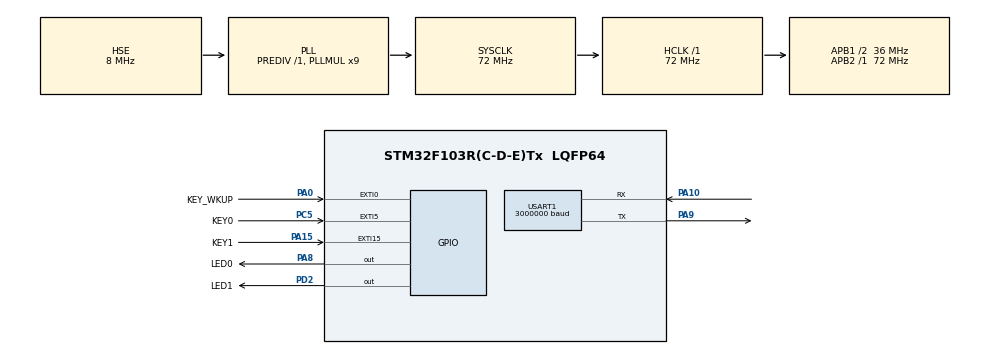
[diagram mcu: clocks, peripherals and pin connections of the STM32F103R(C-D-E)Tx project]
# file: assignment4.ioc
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Mcu.Family=STM32F1
Mcu.Name=STM32F103R(C-D-E)Tx
Mcu.Package=LQFP64
NVIC.EXTI0_IRQn=true\:2\:0\:true\:false\:true\:true\:true\:true
NVIC.EXTI15_10_IRQn=true\:2\:2\:true\:false\:true\:true\:true\:true
NVIC.EXTI9_5_IRQn=true\:2\:1\:true\:false\:true\:true\:true\:true
NVIC.PriorityGroup=NVIC_PRIORITYGROUP_2
NVIC.TIM3_IRQn=true\:2\:3\:true\:false\:true\:true\:true\:true
NVIC.USART1_IRQn=true\:1\:0\:true\:false\:true\:true\:true\:true
PA0-WKUP.GPIO_Label=KEY_WKUP
PA0-WKUP.GPIO_PuPd=GPIO_PULLDOWN
PA0-WKUP.Signal=GPXTI0
PA10.Mode=Asynchronous
PA10.Signal=USART1_RX
PA13.Mode=Serial_Wire
PA13.Signal=SYS_JTMS-SWDIO
PA14.Mode=Serial_Wire
PA14.Signal=SYS_JTCK-SWCLK
PA15.GPIO_Label=KEY1
PA15.GPIO_ModeDefaultEXTI=GPIO_MODE_IT_FALLING
PA15.GPIO_PuPd=GPIO_PULLUP
PA15.Signal=GPXTI15
PA8.GPIO_Label=LED0
PA8.Signal=GPIO_Output
PA9.Mode=Asynchronous
PA9.Signal=USART1_TX
PC5.GPIO_Label=KEY0
PC5.GPIO_ModeDefaultEXTI=GPIO_MODE_IT_FALLING
PC5.GPIO_PuPd=GPIO_PULLUP
PC5.Signal=GPXTI5
PD0-OSC_IN.Mode=HSE-External-Oscillator
PD0-OSC_IN.Signal=RCC_OSC_IN
PD1-OSC_OUT.Mode=HSE-External-Oscillator
PD1-OSC_OUT.Signal=RCC_OSC_OUT
PD2.GPIO_Label=LED1
PD2.Signal=GPIO_Output
ProjectManager.HeapSize=0x200
ProjectManager.StackSize=0x400
ProjectManager.TargetToolchain=STM32CubeIDE
RCC.AHBFreq_Value=72000000
RCC.APB1CLKDivider=RCC_HCLK_DIV2
RCC.APB1Freq_Value=36000000
RCC.APB1TimFreq_Value=72000000
RCC.APB2Freq_Value=72000000
RCC.APB2TimFreq_Value=72000000
RCC.HCLKFreq_Value=72000000
RCC.PLLMUL=RCC_PLL_MUL9
RCC.PLLSourceVirtual=RCC_PLLSOURCE_HSE
RCC.SYSCLKFreq_VALUE=72000000
RCC.SYSCLKSource=RCC_SYSCLKSOURCE_PLLCLK
RCC.USBFreq_Value=72000000
TIM3.Period=9999
TIM3.Prescaler=7199
USART1.BaudRate=3000000
USART1.VirtualMode=VM_ASYNC
VP_TIM3_VS_ClockSourceINT.Mode=Internal
board=custom

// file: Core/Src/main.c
/* USER CODE BEGIN Header */
/**
  ******************************************************************************
  * @file           : main.c
  * @brief          : Main program body
  ******************************************************************************
  * @attention
  *
  * Copyright (c) 2024 STMicroelectronics.
  * All rights reserved.
  *
  * This software is licensed under terms that can be found in the LICENSE file
  * in the root directory of this software component.
  * If no LICENSE file comes with this software, it is provided AS-IS.
  *
  ******************************************************************************
  */
/* USER CODE END Header */
#include "main.h"
#include "tim.h"
#include "usart.h"
#include "gpio.h"

/* USER CODE BEGIN Includes */
#include "touch.h"
#include "lcd.h"
#include "delay.h"

#include <stdio.h>
#include <string.h>
/* USER CODE END Includes */

/* USER CODE BEGIN PD */
#define SLIDE_THRESHOLD 5
#define MAP_START 13980
#define NUM_OBS 10
#define TIME_LIMIE 30
/* USER CODE END PD */

extern TIM_HandleTypeDef htim3;
extern int game_state = 0;
extern int game_time = 0;
extern int theme = 0;
extern int speed = 0;

int player_state;
int sliding;

struct object {
	int x, y;
} car, obstacles[NUM_OBS];

void SystemClock_Config(void);

int main(void)
{

  /* MCU Configuration--------------------------------------------------------*/

  /* Reset of all peripherals, Initializes the Flash interface and the Systick. */
  HAL_Init();

  /* Configure the system clock */
  SystemClock_Config();

  /* Initialize all configured peripherals */
  MX_GPIO_Init();
  MX_USART1_UART_Init();
  MX_TIM3_Init();
  /* USER CODE BEGIN 2 */
  HAL_Delay_Init(72);
  lcd_init();
  tp_dev.init();
  HAL_TIM_Base_Start_IT(&htim3);

  // lcd_show_string(80, 100, 200, 24, 24, "Welcome", BLACK);
  int last_y = 0;
  int last_up_time = 0, last_down_time;
  int slide_cum = 0;
  int track_start = MAP_START;
  int jump = 1;

  lcd_show_string(80, 50, 200, 24, 24, "Welcome", BLACK);
  lcd_draw_rectangle(85, 95, 150, 130, BLACK);
  lcd_show_string(90, 100, 210, 24, 24, "Start", BLACK);
  lcd_draw_rectangle(35, 135, 190, 170, BLACK);
  lcd_show_string(40, 140, 200, 24, 24, "Change theme", BLACK);

  while (game_state != 1) {
	    tp_dev.scan(0);
	    if ((tp_dev.sta & TP_PRES_DOWN) && (tp_dev.x[0] < lcddev.width && tp_dev.y[0] < lcddev.height)) // 触摸屏被按下
	    {
	    	if (tp_dev.x[0] < 150 && tp_dev.y[0] > 95 && tp_dev.x[0] > 85 && tp_dev.y[0] < 130) // start
	    	{
	    		game_state = 1;
	    		break;
	    	}
	    	else if (tp_dev.x[0] > 30 && tp_dev.y[0] > 135 && tp_dev.x[0] < 190 && tp_dev.y[0] < 170) // change theme
	    	{
	    		theme = theme ? 0 : 1;
	    	}
	    }
	    char s[20];
	    sprintf(s, "Current theme: %s", theme ? "Boat Racing" : "F1 Racing");
	    lcd_show_string(30, 200, 200, 16, 16, s, BLACK);
	    HAL_Delay(50);
  }

  // game start

  car.x = 105;
  car.y = 0; // 0: straight, 1: left, 2: right
  srand(game_time);
  for (int i = 0; i < 5; i++) {
	  obstacles[i].x = rand() % 210;
	  obstacles[i].y = rand() % 1000 + 200;
  }

  speed = 0; // [-3, 3]
  lcd_show_string(10, 0, 200, 16, 16, "Time: 0", BLACK);

  lcd_color_fill(10, 280, 75, 312, button);
  lcd_color_fill(85, 280, 150, 312, button);
  lcd_color_fill(160, 280, 225, 312, button);

  lcd_show_string_trans(20, 285, 200, 24, 24, "Left", BLACK);
  lcd_show_string_trans(90, 285, 200, 24, 24, "Jump", BLACK);
  lcd_show_string_trans(165, 285, 200, 24, 24, "Right", BLACK);
  /* USER CODE END 2 */

  /* Infinite loop */
  while (1)
  {
    /* USER CODE BEGIN 3 */

    tp_dev.scan(0);
    if ((tp_dev.sta & TP_PRES_DOWN) && (tp_dev.x[0] < lcddev.width && tp_dev.y[0] < lcddev.height)) // 触摸屏被按下
    {
        if (tp_dev.x[0] < 80 && tp_dev.y[0] > 270 && tp_dev.x[0] > 0 && tp_dev.y[0] < lcddev.height) // left
        {
        	car.y = 1;
        	if (car.x > 10) car.x -= 5;
        }
        else if (tp_dev.x[0] > 80 && tp_dev.y[0] > 270 && tp_dev.x[0] < 160 && tp_dev.y[0] < lcddev.height) // jump
        {
        	jump = 1;
        }
        else if (tp_dev.x[0] > 160 && tp_dev.y[0] > 270 && tp_dev.x[0] < 240 && tp_dev.y[0] < lcddev.height) // right
        {
        	car.y = 2;
        	if (car.x < 310) car.x += 5;
        }
        else // slide
        {
        	if (sliding++) slide_cum += tp_dev.y[0] - last_y;
        	last_y = tp_dev.y[0];
        }
    }
    else {
    	car.y = jump = 0; // reset car status

		if (sliding > 1) { // sliding
			int interval;
			if (slide_cum < -SLIDE_THRESHOLD) {
				lcd_show_string(200, 0, 200, 16, 16, "Up!!!", BLACK);
				interval = game_time - last_up_time;
				if (interval < 8) speed = 3 - interval / 2;
			}
			else if (slide_cum > SLIDE_THRESHOLD) {
				lcd_show_string(200, 0, 200, 16, 16, "Down!", BLACK);
				interval = game_time - last_down_time;
				if (interval < 8) speed = interval / 2 - 3;
			}
			last_up_time = last_down_time = game_time;
		}
		slide_cum = sliding = 0;
    }

    // detect collision
    if (!jump)
    for (int i = 0; i < NUM_OBS; i++) {
        int obstacle_y = obstacles[i].y - track_start / 15;
        if (obstacle_y >= 140 && obstacle_y <= 170) {
        	if ((car.x > obstacles[i].x && car.x < obstacles[i].x + 30) || (car.x < obstacles[i].x && car.x + 30 > obstacles[i].x)) {
        		if(speed > 0) speed = 0;
        		lcd_show_string(200, 0, 200, 16, 16, "Coll", BLACK);
        	}
        }
    }

    // update screen

    if (track_start > 240 && game_time < TIME_LIMIE * 4) { // game on
    	if (track_start < MAP_START || speed > 0) {
    		track_start -= speed * 120;
    	}

    	if (theme) {
    		lcd_fill(0, 20, 240, 320, 0x047b);
    		int window = 300 - track_start / 15;
    		if (window < 300 && window > 0)
    			lcd_color_fill_scale(0, window + 20, 240, window + 75, finish_line, 4, 0);
    	} else{
    		lcd_color_fill_scale(0, 20, 240, 320, background_1, 4, track_start);
    	}

    	// obstacle
    	for (int i = 0; i < NUM_OBS; i++) {
    		int window = obstacles[i].y - track_start / 15;
    		if (window < 300 && window > 0) {
    			lcd_color_fill_trans(
    				obstacles[i].x, window + 20, obstacles[i].x + 29, window + 49,
					theme ? obstacle2 : obstacle1, 1);
    		}
    	}

    	// boat or car
    	if (theme) {
    		if (!jump) lcd_color_fill_trans(car.x, 190, car.x + 24, 219, player_boat, 1);
    		else lcd_color_fill_trans(car.x - 5, 183, car.x + 29, 227, player_boat_jump, 1);
    	} else {
    		if (!jump) lcd_color_fill_trans(car.x, 190, car.x + 29, 219, player_car[car.y], 1);
    		else lcd_color_fill_trans(car.x - 7, 183, car.x + 37, 227, player_car_jump, 1);
    	}

        // button
        lcd_color_fill(10, 280, 75, 312, button);
        lcd_color_fill(85, 280, 150, 312, button);
        lcd_color_fill(160, 280, 225, 312, button);

        lcd_show_string_trans(20, 285, 200, 24, 24, "Left", BLACK);
        lcd_show_string_trans(90, 285, 200, 24, 24, "Jump", BLACK);
        lcd_show_string_trans(165, 285, 200, 24, 24, "Right", BLACK);
    } else if (track_start < 240) { // game over
    	lcd_show_string_trans(70, 50, 200, 24, 24, "FINISHED!", RED);
    	lcd_show_string_trans(70, 80, 200, 24, 24, "YOU WIN!", RED);
    	game_state = 2;
    } else if (game_time > TIME_LIMIE * 4) { // game fail
    	lcd_show_string_trans(70, 50, 200, 24, 24, "TIME OUT!", RED);
    	lcd_show_string_trans(70, 80, 200, 24, 24, "YOU LOSE!", RED);
    	game_state = 3;
    }
  }
  /* USER CODE END 3 */
}

void SystemClock_Config(void)
{
  RCC_OscInitTypeDef RCC_OscInitStruct = {0};
  RCC_ClkInitTypeDef RCC_ClkInitStruct = {0};

  /** Initializes the RCC Oscillators according to the specified parameters
  * in the RCC_OscInitTypeDef structure.
  */
  RCC_OscInitStruct.OscillatorType = RCC_OSCILLATORTYPE_HSE;
  RCC_OscInitStruct.HSEState = RCC_HSE_ON;
  RCC_OscInitStruct.HSEPredivValue = RCC_HSE_PREDIV_DIV1;
  RCC_OscInitStruct.HSIState = RCC_HSI_ON;
  RCC_OscInitStruct.PLL.PLLState = RCC_PLL_ON;
  RCC_OscInitStruct.PLL.PLLSource = RCC_PLLSOURCE_HSE;
  RCC_OscInitStruct.PLL.PLLMUL = RCC_PLL_MUL9;
  if (HAL_RCC_OscConfig(&RCC_OscInitStruct) != HAL_OK)
  {
    Error_Handler();
  }

  /** Initializes the CPU, AHB and APB buses clocks
  */
  RCC_ClkInitStruct.ClockType = RCC_CLOCKTYPE_HCLK|RCC_CLOCKTYPE_SYSCLK
                              |RCC_CLOCKTYPE_PCLK1|RCC_CLOCKTYPE_PCLK2;
  RCC_ClkInitStruct.SYSCLKSource = RCC_SYSCLKSOURCE_PLLCLK;
  RCC_ClkInitStruct.AHBCLKDivider = RCC_SYSCLK_DIV1;
  RCC_ClkInitStruct.APB1CLKDivider = RCC_HCLK_DIV2;
  RCC_ClkInitStruct.APB2CLKDivider = RCC_HCLK_DIV1;

  if (HAL_RCC_ClockConfig(&RCC_ClkInitStruct, FLASH_LATENCY_2) != HAL_OK)
  {
    Error_Handler();
  }
}

void Error_Handler(void)
{
  __disable_irq();
  while (1)
  {
  }
}
